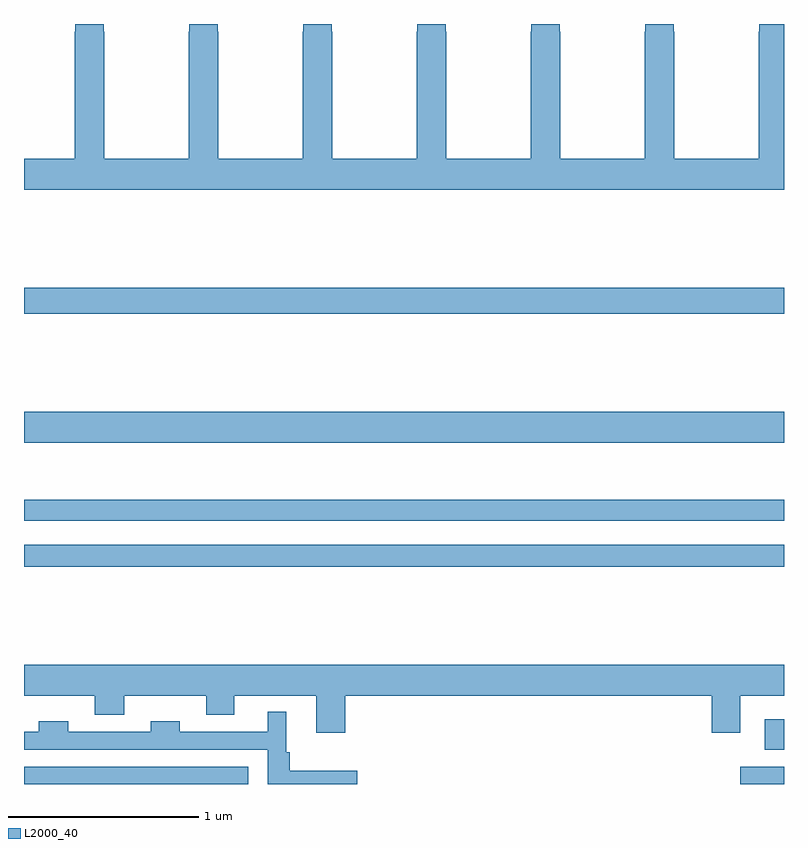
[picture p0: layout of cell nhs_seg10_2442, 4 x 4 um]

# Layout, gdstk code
import gdstk
lib = gdstk.Library(unit=1e-6, precision=1e-09)
def R(c, l, rs):  # rectangles x0, y0, x1, y1
    for r in rs: c.add(gdstk.rectangle(r[:2], r[2:], *l))
def P(c, l, *ps):  # polygons
    for p in ps: c.add(gdstk.Polygon(p, *l))
L2000_40 = (2000, 40)

nhs_seg10_2442 = lib.new_cell('nhs_seg10_2442')
R(nhs_seg10_2442, L2000_40, [(244.769,1318.5,245,1318.59), (244.899,1318.68,245,1318.84), (241,1319.644,245,1319.76), (241,1319.886,245,1319.995), (241,1320.296,245,1320.46), (241,1320.976,245,1321.112)])
P(nhs_seg10_2442, L2000_40, [(241.419,1322.459),(241.419,1322.5),(241.269,1322.5),(241.269,1322.459),(241.267,1322.459),(241.267,1321.792),(241,1321.792),(241,1321.628),(245,1321.628),(245,1322.5),(244.869,1322.5),(244.869,1322.459),(244.867,1322.459),(244.867,1321.792),(244.422,1321.792),(244.422,1322.459),(244.419,1322.459),(244.419,1322.5),(244.269,1322.5),(244.269,1322.459),(244.267,1322.459),(244.267,1321.792),(243.822,1321.792),(243.822,1322.459),(243.819,1322.459),(243.819,1322.5),(243.669,1322.5),(243.669,1322.459),(243.667,1322.459),(243.667,1321.792),(243.222,1321.792),(243.222,1322.459),(243.219,1322.459),(243.219,1322.5),(243.069,1322.5),(243.069,1322.459),(243.067,1322.459),(243.067,1321.792),(242.622,1321.792),(242.622,1322.459),(242.619,1322.459),(242.619,1322.5),(242.469,1322.5),(242.469,1322.459),(242.467,1322.459),(242.467,1321.792),(242.022,1321.792),(242.022,1322.459),(242.019,1322.459),(242.019,1322.5),(241.869,1322.5),(241.869,1322.459),(241.867,1322.459),(241.867,1321.792),(241.422,1321.792),(241.422,1322.459)],
  [(242.69,1318.964),(244.619,1318.964),(244.619,1318.77),(244.771,1318.77),(244.771,1318.964),(245,1318.964),(245,1319.128),(241,1319.128),(241,1318.964),(241.372,1318.964),(241.372,1318.865),(241.527,1318.865),(241.527,1318.964),(241.96,1318.964),(241.96,1318.865),(242.107,1318.865),(242.107,1318.964),(242.537,1318.964),(242.537,1318.77),(242.69,1318.77)],
  [(242.753,1318.57),(242.399,1318.57),(242.399,1318.666),(242.38,1318.666),(242.38,1318.879),(242.282,1318.879),(242.282,1318.776),(241.821,1318.776),(241.821,1318.831),(241.666,1318.831),(241.666,1318.776),(241.233,1318.776),(241.233,1318.831),(241.078,1318.831),(241.078,1318.776),(241,1318.776),(241,1318.68),(242.283,1318.68),(242.283,1318.5),(242.753,1318.5)],
  [(242.179,1318.591),(241.957,1318.591),(241.957,1318.59),(241,1318.59),(241,1318.5),(242.179,1318.5)])

lib.write_gds('nhs_seg10_2442.gds')
